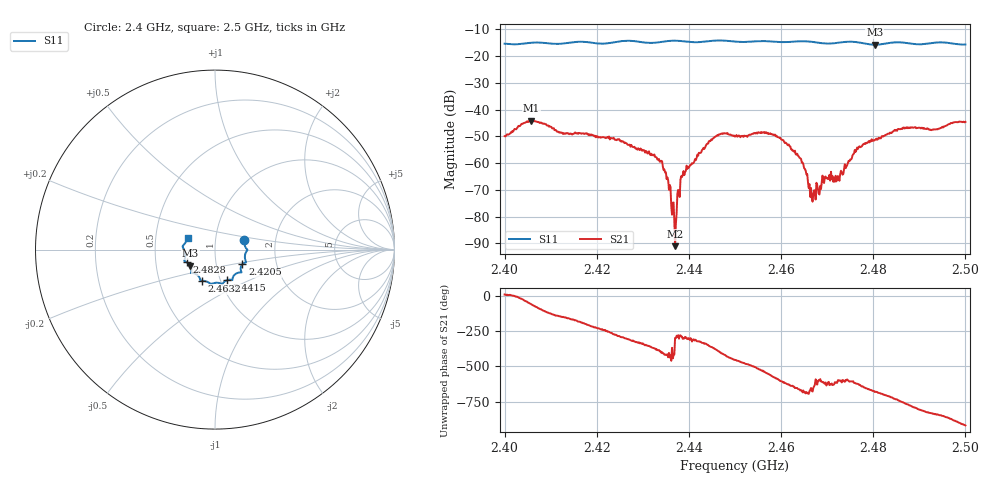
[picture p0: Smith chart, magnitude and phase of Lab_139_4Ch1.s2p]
# Hz S RI R 50
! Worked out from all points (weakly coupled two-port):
!   601 points, 2.4 GHz to 2.5 GHz, reference 50 ohm
!   highest |S21| = -44.07 dB at 2.4058 GHz (marker M1); lowest = -91.1 dB at 2.437 GHz (marker M2)
!   lowest |S11| = -15.7 dB at 2.4803 GHz (marker M3), VSWR 1.39, Z = 37.4 - j6.84 ohm
!   |S11| at or under -10 dB: start of sweep to end of sweep
!   S12 and S22 are empty: the file has one direction only
!   S11 on the Smith chart (normalised r, x): 2.4 GHz: 1.38, +0.15; 2.4205 GHz: 1.34, -0.23; 2.4415 GHz: 1.07, -0.38; 2.4632 GHz: 0.82, -0.29; 2.4828 GHz: 0.72, -0.10; 2.5 GHz: 0.73, +0.10
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2.4e9  0.1637 0.0517  0.00317 0.000397  0 0  0 0
2.405833e9  0.1785 0.00155  0.00287 -0.00556  0 0  0 0
2.416667e9  0.173 -0.07  -0.00348 0.000698  0 0  0 0
2.4205e9  0.1523 -0.0816  -0.00186 0.00241  0 0  0 0
2.433333e9  0.1005 -0.1514  0.00106 -0.000502  0 0  0 0
2.4345e9  0.0979 -0.1605  0.000504 -0.000555  0 0  0 0
2.436667e9  0.0968 -0.1695  8.8e-05 -0.000162  0 0  0 0
2.437e9  0.0965 -0.1696  1.34e-05 2.46e-05  0 0  0 0
2.438667e9  0.0902 -0.1685  0.000353 0.000493  0 0  0 0
2.4415e9  0.0654 -0.1705  0.000776 0.000832  0 0  0 0
2.446e9  0.0413 -0.1922  0.00297 -0.00132  0 0  0 0
2.45e9  0.0246 -0.1864  -0.000247 -0.00313  0 0  0 0
2.458167e9  -0.0327 -0.1851  -0.00291 0.00176  0 0  0 0
2.463167e9  -0.0731 -0.1738  0.000531 0.00138  0 0  0 0
2.466667e9  -0.0822 -0.167  0.000142 0.000172  0 0  0 0
2.4695e9  -0.0946 -0.145  -7.31e-05 0.000549  0 0  0 0
2.472167e9  -0.12 -0.131  -0.000123 0.000488  0 0  0 0
2.4765e9  -0.133 -0.1257  -0.000276 0.00194  0 0  0 0
2.480333e9  -0.1378 -0.0891  0.00206 0.00174  0 0  0 0
2.482833e9  -0.1587 -0.0701  0.00328 0.000902  0 0  0 0
2.483333e9  -0.1624 -0.0682  0.0035 0.000709  0 0  0 0
2.5e9  -0.1528 0.0647  -0.00569 0.00164  0 0  0 0
